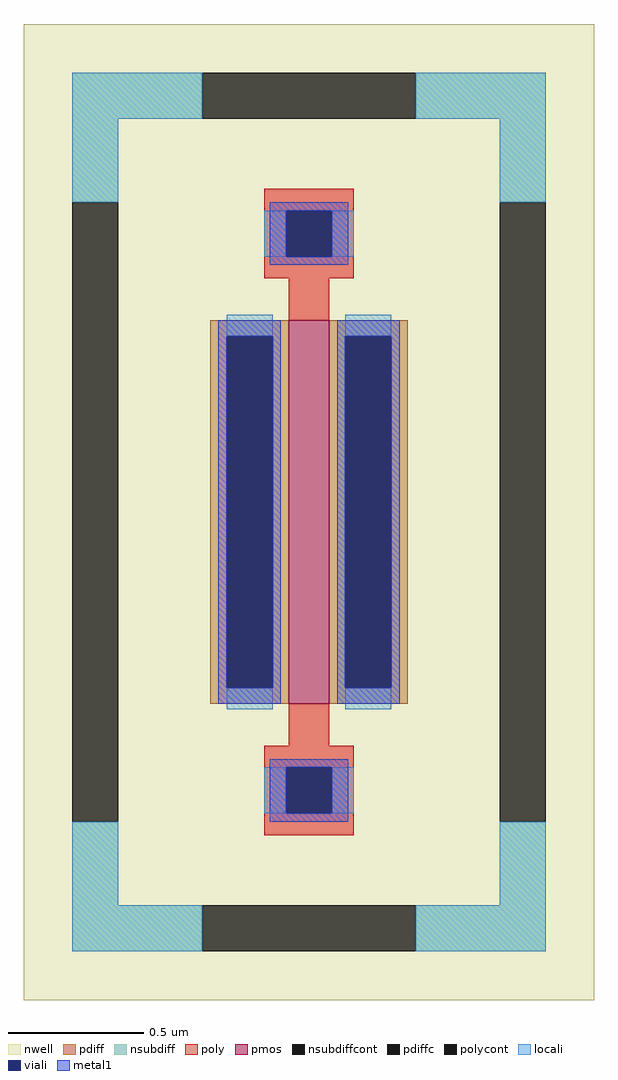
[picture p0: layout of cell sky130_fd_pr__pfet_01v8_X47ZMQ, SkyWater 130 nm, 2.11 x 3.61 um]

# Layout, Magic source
magic
tech sky130A
magscale 1 2
<< nwell >>
rect -211 -361 211 361
<< pmos >>
rect -15 -142 15 142
<< pdiff >>
rect -73 130 -15 142
rect -73 -130 -61 130
rect -27 -130 -15 130
rect -73 -142 -15 -130
rect 15 130 73 142
rect 15 -130 27 130
rect 61 -130 73 130
rect 15 -142 73 -130
<< pdiffc >>
rect -61 -130 -27 130
rect 27 -130 61 130
<< nsubdiff >>
rect -175 291 -79 325
rect 79 291 175 325
rect -175 229 -141 291
rect 141 229 175 291
rect -175 -291 -141 -229
rect 141 -291 175 -229
rect -175 -325 -79 -291
rect 79 -325 175 -291
<< nsubdiffcont >>
rect -79 291 79 325
rect -175 -229 -141 229
rect 141 -229 175 229
rect -79 -325 79 -291
<< poly >>
rect -33 223 33 239
rect -33 189 -17 223
rect 17 189 33 223
rect -33 173 33 189
rect -15 142 15 173
rect -15 -173 15 -142
rect -33 -189 33 -173
rect -33 -223 -17 -189
rect 17 -223 33 -189
rect -33 -239 33 -223
<< polycont >>
rect -17 189 17 223
rect -17 -223 17 -189
<< locali >>
rect -175 291 -79 325
rect 79 291 175 325
rect -175 229 -141 291
rect 141 229 175 291
rect -33 189 -17 223
rect 17 189 33 223
rect -61 130 -27 146
rect -61 -146 -27 -130
rect 27 130 61 146
rect 27 -146 61 -130
rect -33 -223 -17 -189
rect 17 -223 33 -189
rect -175 -291 -141 -229
rect 141 -291 175 -229
rect -175 -325 -79 -291
rect 79 -325 175 -291
<< viali >>
rect -17 189 17 223
rect -61 -130 -27 130
rect 27 -130 61 130
rect -17 -223 17 -189
<< metal1 >>
rect -29 223 29 229
rect -29 189 -17 223
rect 17 189 29 223
rect -29 183 29 189
rect -67 130 -21 142
rect -67 -130 -61 130
rect -27 -130 -21 130
rect -67 -142 -21 -130
rect 21 130 67 142
rect 21 -130 27 130
rect 61 -130 67 130
rect 21 -142 67 -130
rect -29 -189 29 -183
rect -29 -223 -17 -189
rect 17 -223 29 -189
rect -29 -229 29 -223
<< properties >>
string FIXED_BBOX -158 -308 158 308
string gencell sky130_fd_pr__pfet_01v8
string library sky130
string parameters w 1.42 l 0.15 m 1 nf 1 diffcov 100 polycov 100 guard 1 glc 1 grc 1 gtc 1 gbc 1 tbcov 100 rlcov 100 topc 1 botc 1 poverlap 0 doverlap 1 lmin 0.15 wmin 0.42 compatible {sky130_fd_pr__pfet_01v8  sky130_fd_pr__pfet_01v8_lvt sky130_fd_pr__pfet_01v8_hvt  sky130_fd_pr__pfet_g5v0d10v5} full_metal 1 viasrc 100 viadrn 100 viagate 100 viagb 0 viagr 0 viagl 0 viagt 0
<< end >>
